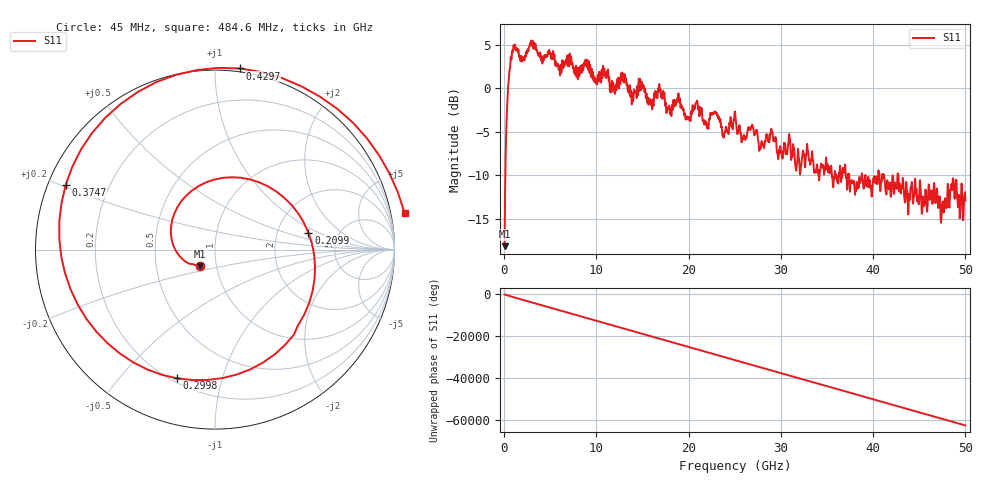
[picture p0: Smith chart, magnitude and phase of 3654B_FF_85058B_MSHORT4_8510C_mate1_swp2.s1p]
!Created with skrf (http://scikit-rf.org).
# Hz S RI R 50.0
!freq ReS11 ImS11
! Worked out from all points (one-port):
!   10001 points, 45 MHz to 50 GHz, reference 50 ohm
!   lowest |S11| = -18.1 dB at 45 MHz (marker M1), VSWR 1.28, Z = 41.8 - j7.92 ohm
!   |S11| at or under -10 dB: 39.18 GHz to 40.53 GHz (1.359 GHz wide, 3.41 % of centre); 41.17 GHz to 42.63 GHz (1.458 GHz wide, 3.48 % of centre); 42.74 GHz to end of sweep (the widest 3 of 15)
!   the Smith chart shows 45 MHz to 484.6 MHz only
!   S11 on the Smith chart (normalised r, x): 45 MHz: 0.84, -0.16; 209.9 MHz: 3.01, +0.79; 299.8 MHz: 0.22, -0.72; 374.7 MHz: 0.05, +0.21; 429.7 MHz: -0.02, +1.15; 484.6 MHz: -3.54, +9.14
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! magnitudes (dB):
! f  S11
! 45 MHz  -18.1
! 209.9 MHz  -5.5
! 299.8 MHz  -2.5
! 374.7 MHz  -0.9
! 429.7 MHz  0.2
! 484.6 MHz  0.6
! 1.174 GHz  5.0
! 6.289 GHz  3.1
! 12.53 GHz  1.0
! 15.84 GHz  -1.3
! 16.88 GHz  -0.3
! 17.91 GHz  -2.1
! 18.78 GHz  -1.3
! 21.91 GHz  -3.9
! 22.94 GHz  -2.9
! 23.76 GHz  -5.6
! 25.02 GHz  -2.7
! 25.93 GHz  -5.5
! 26.77 GHz  -4.5
! 27.83 GHz  -6.6
! 29.02 GHz  -5.1
! 31.27 GHz  -7.5
! 37.51 GHz  -11.6
! 43.76 GHz  -13.4
! 46.74 GHz  -13.1
! 47.51 GHz  -13.2
! 48.81 GHz  -12.5
! 50 GHz  -12.9
